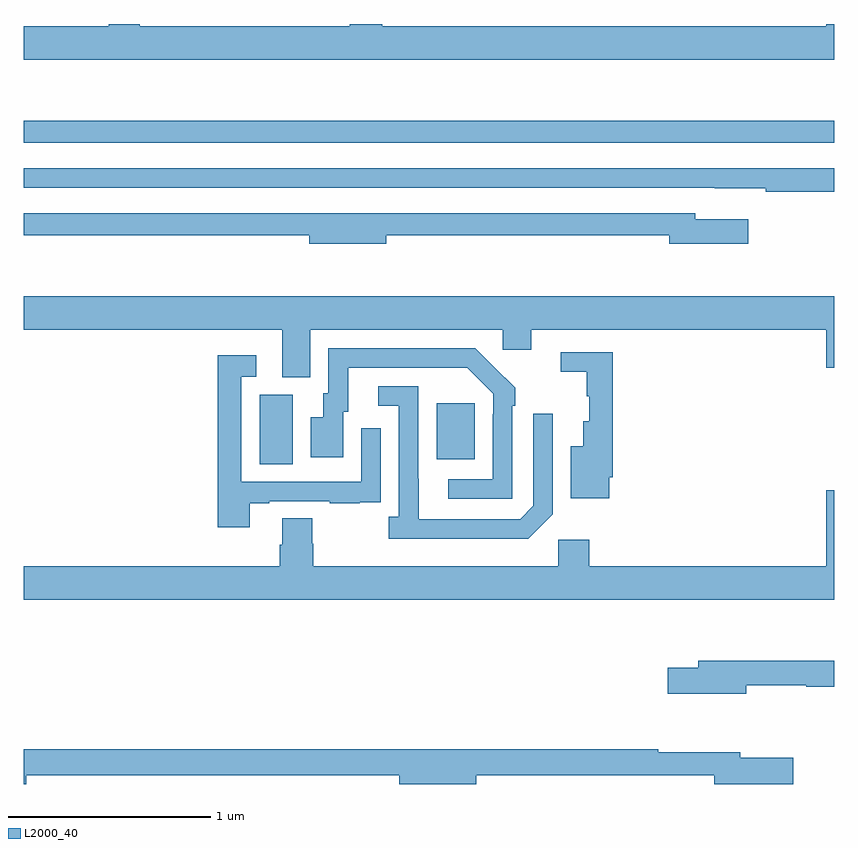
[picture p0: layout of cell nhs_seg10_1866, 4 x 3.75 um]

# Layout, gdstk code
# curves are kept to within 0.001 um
import gdstk
lib = gdstk.Library(unit=1e-6, precision=1e-09)
def R(c, l, rs):  # rectangles x0, y0, x1, y1
    for r in rs: c.add(gdstk.rectangle(r[:2], r[2:], *l))
def P(c, l, *ps):  # polygons
    for p in ps: c.add(gdstk.Polygon(p, *l))
L2000_40 = (2000, 40)

nhs_seg10_1866 = lib.new_cell('nhs_seg10_1866')
R(nhs_seg10_1866, L2000_40, [(210.164,1290.328,210.328,1290.672), (211.037,1290.353,211.225,1290.628), (209,1291.914,213,1292.023)])
P(nhs_seg10_1866, L2000_40, [(213,1292.5),(212.96,1292.5),(212.96,1292.488),(210.77,1292.488),(210.77,1292.5),(210.61,1292.5),(210.61,1292.488),(209.572,1292.488),(209.572,1292.5),(209.42,1292.5),(209.42,1292.488),(209,1292.488),(209,1292.324),(213,1292.324)],
  [(213,1291.788),(209,1291.788),(209,1291.692),(212.41,1291.692),(212.41,1291.691),(212.662,1291.691),(212.662,1291.672),(213,1291.672)],
  [(210.79,1291.458),(212.186,1291.458),(212.186,1291.415),(212.575,1291.415),(212.575,1291.537),(212.314,1291.537),(212.314,1291.566),(209,1291.566),(209,1291.458),(210.41,1291.458),(210.41,1291.415),(210.79,1291.415)],
  [(210.415,1290.992),(211.365,1290.992),(211.365,1290.894),(211.504,1290.894),(211.504,1290.992),(212.96,1290.992),(212.96,1290.804),(213,1290.804),(213,1291.156),(209,1291.156),(209,1290.992),(210.275,1290.992),(210.275,1290.757),(210.415,1290.757)],
  [(211.41,1290.617),(211.425,1290.617),(211.425,1290.705),(211.228,1290.9),(210.504,1290.9),(210.504,1290.678),(210.479,1290.678),(210.479,1290.559),(210.416,1290.559),(210.416,1290.363),(210.577,1290.363),(210.577,1290.588),(210.601,1290.588),(210.601,1290.804),(211.189,1290.804),(211.317,1290.675),(211.317,1290.575),(211.314,1290.575),(211.314,1290.255),(211.095,1290.255),(211.095,1290.159),(211.41,1290.159)],
  [(211.888,1290.265),(211.907,1290.265),(211.907,1290.882),(211.65,1290.882),(211.65,1290.784),(211.779,1290.784),(211.779,1290.663),(211.79,1290.663),(211.79,1290.541),(211.76,1290.541),(211.76,1290.418),(211.7,1290.418),(211.7,1290.161),(211.888,1290.161)],
  [(210.115,1290.135),(210.211,1290.135),(210.211,1290.147),(210.511,1290.147),(210.511,1290.135),(210.659,1290.135),(210.659,1290.141),(210.761,1290.141),(210.761,1290.25),(210.762,1290.25),(210.762,1290.505),(210.666,1290.505),(210.666,1290.243),(210.075,1290.243),(210.075,1290.759),(210.148,1290.759),(210.148,1290.865),(209.959,1290.865),(209.959,1290.018),(210.115,1290.018)],
  [(211.611,1290.081),(211.611,1290.577),(211.515,1290.577),(211.515,1290.123),(211.449,1290.057),(210.949,1290.057),(210.948,1290.714),(210.75,1290.714),(210.75,1290.618),(210.852,1290.618),(210.852,1290.07),(210.801,1290.07),(210.801,1289.96),(211.49,1289.96)],
  [(213,1290.199),(212.96,1290.199),(212.96,1289.824),(211.79,1289.824),(211.79,1289.956),(211.638,1289.956),(211.638,1289.824),(210.428,1289.824),(210.428,1289.937),(210.423,1289.937),(210.423,1290.062),(210.275,1290.062),(210.275,1289.93),(210.263,1289.93),(210.263,1289.824),(209,1289.824),(209,1289.66),(213,1289.66)],
  [(212.566,1289.238),(212.862,1289.238),(212.862,1289.23),(213,1289.23),(213,1289.359),(212.327,1289.359),(212.327,1289.325),(212.178,1289.325),(212.178,1289.195),(212.566,1289.195)],
  [(209.014,1288.794),(210.854,1288.794),(210.854,1288.751),(211.234,1288.751),(211.234,1288.794),(212.408,1288.794),(212.408,1288.751),(212.797,1288.751),(212.797,1288.881),(212.536,1288.881),(212.536,1288.907),(212.132,1288.907),(212.132,1288.922),(209,1288.922),(209,1288.751),(209.014,1288.751)])

lib.write_gds('nhs_seg10_1866.gds')
